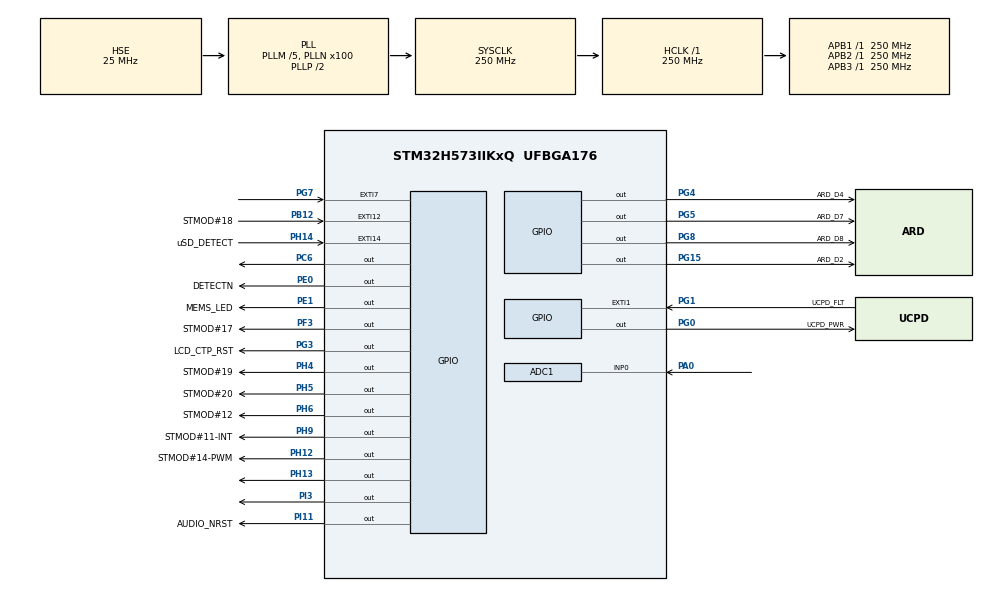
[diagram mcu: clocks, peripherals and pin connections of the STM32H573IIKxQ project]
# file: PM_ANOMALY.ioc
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ADC1.Channel-0\#ChannelRegularConversion=ADC_CHANNEL_0
ADC1.MonitoredBy-0\#ChannelRegularConversion=__NULL
ADC1.NbrOfConversionFlag=1
ADC1.OffsetNumber-0\#ChannelRegularConversion=ADC_OFFSET_NONE
ADC1.Rank-0\#ChannelRegularConversion=1
ADC1.SamplingTime-0\#ChannelRegularConversion=ADC_SAMPLETIME_2CYCLES_5
ADC1.master=1
BOOTPATH.BootPathName=LEGACY
BOOTPATH.UserSelectedBootPath=LEGACY
CORTEX_M33_NS.userName=CORTEX_M33
Mcu.Family=STM32H5
Mcu.Name=STM32H573IIKxQ
Mcu.Package=UFBGA176
NVIC.EXTI13_IRQn=true\:0\:0\:false\:false\:true\:false\:true\:true
NVIC.EXTI7_IRQn=true\:0\:0\:false\:false\:true\:false\:true\:true
NVIC.PriorityGroup=NVIC_PRIORITYGROUP_4
PA0.Signal=ADCx_INP0
PA1.GPIO_Label=RMII_REF_CLK
PA1.Signal=ETH_REF_CLK
PA11.GPIO_Label=USB_FS_N
PA11.Signal=USB_DM
PA12.GPIO_Label=USB_FS_P
PA12.Signal=USB_DP
PA13(JTMS/SWDIO).GPIO_Label=JTMS
PA13(JTMS/SWDIO).Signal=DEBUG_JTMS-SWDIO
PA14(JTCK/SWCLK).GPIO_Label=JTCK
PA14(JTCK/SWCLK).Signal=DEBUG_JTCK-SWCLK
PA15(JTDI).GPIO_Label=JTDI
PA15(JTDI).Signal=DEBUG_JTDI
PA2.GPIO_Label=RMII_MDIO
PA2.Signal=ETH_MDIO
PA3.GPIO_Label=ARD_D10
PA3.Signal=SPI2_NSS
PA4.GPIO_Label=ARD_A1
PA4.Signal=ADCx_INP18
PA5.GPIO_Label=ARD_A3
PA5.Signal=ADCx_INP19
PA6.GPIO_Label=ARD_A4
PA6.Signal=ADCx_INP3
PA7.GPIO_Label=RMII_CRS_DV
PA7.Signal=ETH_CRS_DV
PA8.GPIO_Label=ARD_D9
PA8.Signal=S_TIM1_CH1
PB0.GPIO_Label=ARD_A0
PB0.Signal=ADCx_INP9
PB1.Signal=OCTOSPI1_IO0
PB10.GPIO_Label=ARD_D1
PB10.Signal=USART3_TX
PB11.GPIO_Label=ARD_D0
PB11.Signal=USART3_RX
PB12.GPIO_Label=STMOD\#18
PB12.Signal=GPXTI12
PB13.GPIO_Label=UCPD_CC1
PB13.Signal=UCPD1_CC1
PB14.GPIO_Label=UCPD_CC2
PB14.Signal=UCPD1_CC2
PB15.GPIO_Label=ARD_D11
PB15.Signal=SPI2_MOSI
PB2.Signal=OCTOSPI1_DQS
PB3(JTDO/TRACESWO).GPIO_Label=SWO
PB3(JTDO/TRACESWO).Signal=DEBUG_JTDO-SWO
PB5.GPIO_Label=ARD_D3
PB5.Signal=S_TIM3_CH2
PB6.GPIO_Label=I2C1_SCL
PB6.Signal=I2C1_SCL
PB7.GPIO_Label=I2C1_SDA
PB7.Signal=I2C1_SDA
PC0.Signal=OCTOSPI1_IO7
PC1.GPIO_Label=RMII_MDC
PC1.Signal=ETH_MDC
PC10.GPIO_Label=SDIO1_D2
PC10.Signal=SDMMC1_D2
PC11.GPIO_Label=SDIO1_D3
PC11.Signal=SDMMC1_D3
PC12.GPIO_Label=SDIO1_CK
PC12.Signal=SDMMC1_CK
PC14-OSC32_IN(OSC32_IN).Signal=RCC_OSC32_IN
PC15-OSC32_OUT(OSC32_OUT).Signal=RCC_OSC32_OUT
PC2.Signal=OCTOSPI1_IO2
PC3.GPIO_Label=PDM_SAI1_SD3
PC3.Signal=SAI1_D3
PC4.GPIO_Label=RMII_RXD0
PC4.Signal=ETH_RXD0
PC5.GPIO_Label=RMII_RXD1
PC5.Signal=ETH_RXD1
PC6.Signal=GPIO_Output
PC7.Signal=FMC_NE1
PC8.GPIO_Label=SDIO1_D0
PC8.Signal=SDMMC1_D0
PC9.GPIO_Label=SDIO1_D1
PC9.Signal=SDMMC1_D1
PD0.Signal=FMC_D2_DA2
PD1.Signal=FMC_D3_DA3
PD10.Signal=FMC_D15_DA15
PD11.Signal=SAI1_CK1
PD12.Signal=OCTOSPI1_IO1
PD13.Signal=OCTOSPI1_IO3
PD14.Signal=FMC_D0_DA0
PD15.Signal=FMC_D1_DA1
PD2.GPIO_Label=SDIO1_CMD
PD2.Signal=SDMMC1_CMD
PD3.Signal=FMC_CLK
PD4.Signal=FMC_NOE
PD5.Signal=FMC_NWE
PD6.Signal=SAI1_SD_A
PD8.Signal=FMC_D13_DA13
PD9.Signal=FMC_D14_DA14
PE0.GPIO_Label=DETECTN
PE0.Signal=GPIO_Output
PE1.GPIO_Label=MEMS_LED
PE1.Signal=GPIO_Output
PE10.Signal=FMC_D7_DA7
PE11.Signal=FMC_D8_DA8
PE12.Signal=FMC_D9_DA9
PE13.Signal=FMC_D10_DA10
PE14.Signal=FMC_D11_DA11
PE15.Signal=FMC_D12_DA12
PE2.Signal=DEBUG_TRACECLK
PE3.GPIO_Label=TRACED0
PE3.Signal=DEBUG_TRACED0
PE4.Signal=SAI1_D2
PE5.GPIO_Label=TRACED2
PE5.Signal=DEBUG_TRACED2
PE6.GPIO_Label=TRACED3
PE6.Signal=DEBUG_TRACED3
PE7.Signal=FMC_D4_DA4
PE8.Signal=FMC_D5_DA5
PE9.Signal=FMC_D6_DA6
PF0.Signal=FMC_A0
PF10.Signal=OCTOSPI1_CLK
PF11.GPIO_Label=STMOD\#13
PF11.Signal=ADC1_INP2
PF12.GPIO_Label=ARD_A5
PF12.Signal=ADC1_INP6
PF13.GPIO_Label=IBUS_SENSE
PF13.Signal=ADC2_INP2
PF14.GPIO_Label=VBUS_SENSE
PF14.Signal=ADC2_INP6
PF3.GPIO_Label=STMOD\#17
PF3.Signal=GPIO_Output
PG0.GPIO_Label=UCPD_PWR
PG0.Signal=GPIO_Output
PG1.GPIO_Label=UCPD_FLT
PG1.Signal=GPXTI1
PG10.GPIO_Label=SAI2_SD_B
PG10.Signal=SAI2_SD_B
PG11.GPIO_Label=RMII_TX_EN
PG11.Signal=ETH_TX_EN
PG12.GPIO_Label=RMII_TXD1
PG12.Signal=ETH_TXD1
PG13.Signal=ETH_TXD0
PG14.GPIO_Label=TRACED1
PG14.Signal=DEBUG_TRACED1
PG15.GPIO_Label=ARD_D2
PG15.Signal=GPIO_Output
PG3.GPIO_Label=LCD_CTP_RST
PG3.Signal=GPIO_Output
PG4.GPIO_Label=ARD_D4
PG4.Signal=GPIO_Output
PG5.GPIO_Label=ARD_D7
PG5.Signal=GPIO_Output
PG6.Signal=OCTOSPI1_NCS
PG7.Signal=GPXTI7
PG8.GPIO_Label=ARD_D8
PG8.Signal=GPIO_Output
PG9.Signal=OCTOSPI1_IO6
PH0-OSC_IN(PH0).Mode=HSE-DIG-External-Clock-Source
PH0-OSC_IN(PH0).Signal=RCC_OSC_IN
PH10.GPIO_Label=ARD_D6
PH10.Signal=S_TIM5_CH1
PH11.GPIO_Label=ARD_D5
PH11.Signal=S_TIM5_CH2
PH12.GPIO_Label=STMOD\#14-PWM
PH12.Signal=GPIO_Output
PH13.Signal=GPIO_Output
PH14.GPIO_Label=uSD_DETECT
PH14.Signal=GPXTI14
PH2.Signal=OCTOSPI1_IO4
PH3.Signal=OCTOSPI1_IO5
PH4.GPIO_Label=STMOD\#19
PH4.Signal=GPIO_Output
PH5.GPIO_Label=STMOD\#20
PH5.Signal=GPIO_Output
PH6.GPIO_Label=STMOD\#12
PH6.Signal=GPIO_Output
PH7.GPIO_Label=STMOD\#12-RST
PH7.Signal=SPI5_MISO
PH8.GPIO_Label=STMOD\#9-MISOs
PH8.Signal=SPI5_MOSI
PH9.GPIO_Label=STMOD\#11-INT
PH9.Signal=GPIO_Output
PI1.GPIO_Label=ARD_D13
PI1.Signal=SPI2_SCK
PI10.GPIO_Label=RMII_RX_ER
PI10.Signal=ETH_RX_ER
PI11.GPIO_Label=AUDIO_NRST
PI11.Signal=GPIO_Output
PI2.GPIO_Label=ARD_D12
PI2.Signal=SPI2_MISO
PI3.Signal=GPIO_Output
PI4.GPIO_Label=SAI2_MCLK_A
PI4.Signal=SAI2_MCLK_A
PI5.GPIO_Label=SAI2_SCK_A
PI5.Signal=SAI2_SCK_A
PI6.GPIO_Label=SAI2_SD_A
PI6.Signal=SAI2_SD_A
PI7.GPIO_Label=SAI2_FS_A
PI7.Signal=SAI2_FS_A
ProjectManager.HeapSize=0x200
ProjectManager.StackSize=0x400
ProjectManager.TargetToolchain=STM32CubeIDE
RCC.ADCFreq_Value=250000000
RCC.AHBFreq_Value=250000000
RCC.APB1Freq_Value=250000000
RCC.APB1TimFreq_Value=250000000
RCC.APB2Freq_Value=250000000
RCC.APB2TimFreq_Value=250000000
RCC.APB3Freq_Value=250000000
RCC.CSI_VALUE=4000000
RCC.CortexFreq_Value=250000000
RCC.EPOD_VALUE=25000000
RCC.HCLKFreq_Value=250000000
RCC.HSE_VALUE=25000000
RCC.HSI48_VALUE=48000000
RCC.HSIDiv=RCC_HSI_DIV1
RCC.HSI_VALUE=64000000
RCC.LSE_VALUE=32768
RCC.LSIRC_VALUE=32000
RCC.PLL2FRACN=0
RCC.PLL2N=32
RCC.PLL2P=1
RCC.PLLM=5
RCC.PLLN=100
RCC.PLLSourceVirtual=RCC_PLL1_SOURCE_HSE
RCC.SYSCLKFreq_VALUE=250000000
RCC.SYSCLKSource=RCC_SYSCLKSOURCE_PLLCLK
RCC.USBFreq_Value=48000000
RCC.VCOOutputFreq_Value=500000000
SH.ADCx_INP0.0=ADC1_INP0,IN0-Single-Ended
SH.ADCx_INP18.0=ADC1_INP18
SH.ADCx_INP19.0=ADC1_INP19
SH.ADCx_INP3.0=ADC1_INP3
SH.ADCx_INP9.0=ADC1_INP9
SH.FMC_A0.0=FMC_A0
SH.FMC_CLK.0=FMC_CLK
SH.FMC_D0_DA0.0=FMC_D0
SH.FMC_D10_DA10.0=FMC_D10
SH.FMC_D11_DA11.0=FMC_D11
SH.FMC_D12_DA12.0=FMC_D12
SH.FMC_D13_DA13.0=FMC_D13
SH.FMC_D14_DA14.0=FMC_D14
SH.FMC_D15_DA15.0=FMC_D15
SH.FMC_D1_DA1.0=FMC_D1
SH.FMC_D2_DA2.0=FMC_D2
SH.FMC_D3_DA3.0=FMC_D3
SH.FMC_D4_DA4.0=FMC_D4
SH.FMC_D5_DA5.0=FMC_D5
SH.FMC_D6_DA6.0=FMC_D6
SH.FMC_D7_DA7.0=FMC_D7
SH.FMC_D8_DA8.0=FMC_D8
SH.FMC_D9_DA9.0=FMC_D9
SH.FMC_NOE.0=FMC_NOE
SH.FMC_NWE.0=FMC_NWE
SH.S_TIM1_CH1.0=TIM1_CH1
SH.S_TIM3_CH2.0=TIM3_CH2
SH.S_TIM5_CH1.0=TIM5_CH1
SH.S_TIM5_CH2.0=TIM5_CH2
STM32H573I-DK.BUTTON=1
STM32H573I-DK.LCD_TC_ON=true
STM32H573I-DK.LD1=true
STM32H573I-DK.LD2=true
STM32H573I-DK.LD3=true
STM32H573I-DK.LD4=true
STM32H573I-DK.OCTOSPI_DEMO=true
STM32H573I-DK.VCP=true
VP_BOOTPATH_VS_BOOTPATH.Mode=BP_Activate
VP_CORTEX_M33_NS_VS_Hclk.Mode=Hclk_Mode
VP_ICACHE_VS_ICACHE.Mode=DefaultMode
VP_MEMORYMAP_VS_MEMORYMAP.Mode=CurAppReg
VP_PWR_VS_LPOM.Mode=PowerOptimisation
VP_PWR_VS_SECSignals.Mode=Security/Privilege
VP_STM32H573I-DK_VS_BSP_COMMON.Mode=COMMON
VP_STM32H573I-DK_VS_BSP_LCD.Mode=LCD
VP_STM32H573I-DK_VS_BSP_OCTO_SPI.Mode=OSPI
board=STM32H573I-DK

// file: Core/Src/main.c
/* USER CODE BEGIN Header */
/**
  ******************************************************************************
  * @file           : main.c
  * @brief          : Main program body
  ******************************************************************************
  * @attention
  *
  * Copyright (c) 2025 STMicroelectronics.
  * All rights reserved.
  *
  * This software is licensed under terms that can be found in the LICENSE file
  * in the root directory of this software component.
  * If no LICENSE file comes with this software, it is provided AS-IS.
  *
  ******************************************************************************
  */
/* USER CODE END Header */
#include "main.h"

/* USER CODE BEGIN Includes */
#include "stdio.h"
#include "NanoEdgeAI.h"

/* USER CODE END Includes */

COM_InitTypeDef BspCOMInit;
TS_Init_t   BspTSInit;
BSP_OSPI_NOR_Init_t BspOSPINORInit;
ADC_HandleTypeDef hadc1;

/* USER CODE BEGIN PV */
uint8_t similarity = 0;
float neai_buffer[AXIS_NUMBER * DATA_INPUT_USER];
uint16_t learn_count = 0;
/* USER CODE END PV */

void SystemClock_Config(void);
static void MX_GPIO_Init(void);
static void MX_ADC1_Init(void);
static void MX_ICACHE_Init(void);

int main(void)
{

  /* MCU Configuration--------------------------------------------------------*/

  /* Reset of all peripherals, Initializes the Flash interface and the Systick. */
  HAL_Init();

  /* Configure the system clock */
  SystemClock_Config();

  /* Initialize all configured peripherals */
  MX_GPIO_Init();
  MX_ADC1_Init();
  MX_ICACHE_Init();
  /* USER CODE BEGIN 2 */
  neai_anomalydetection_init();
  printf("NanoEdge AI Initialized.\r\n");

  char displayBuffer[40];
  char learnbuffer[40];
  /* USER CODE END 2 */

  /* Initialize leds */
  BSP_LED_Init(LED_GREEN);
  BSP_LED_Init(LED_ORANGE);
  BSP_LED_Init(LED_RED);
  BSP_LED_Init(LED_BLUE);

  /* Initialize USER push-button, will be used to trigger an interrupt each time it's pressed.*/
  BSP_PB_Init(BUTTON_USER, BUTTON_MODE_EXTI);

  /* Initialize COM1 port (115200, 8 bits (7-bit data + 1 stop bit), no parity */
  BspCOMInit.BaudRate   = 115200;
  BspCOMInit.WordLength = COM_WORDLENGTH_8B;
  BspCOMInit.StopBits   = COM_STOPBITS_1;
  BspCOMInit.Parity     = COM_PARITY_NONE;
  BspCOMInit.HwFlowCtl  = COM_HWCONTROL_NONE;
  if (BSP_COM_Init(COM1, &BspCOMInit) != BSP_ERROR_NONE)
  {
    Error_Handler();
  }

  /* Initialize LCD to black */
  if (BSP_LCD_Init(0, LCD_ORIENTATION_LANDSCAPE) != BSP_ERROR_NONE)
  {
    Error_Handler();
  }
  // Set function driver (VERY IMPORTANT)
  UTIL_LCD_SetFuncDriver(&LCD_Driver);

  // Select device index
  UTIL_LCD_SetDevice(0);

  // Select active layer
  UTIL_LCD_SetLayer(0);
  /* Initialize Touch screen with interrupts */
  BspTSInit.Orientation = TS_ORIENTATION_LANDSCAPE;
  BspTSInit.Accuracy = 5;
  BspTSInit.Width = LCD_DEFAULT_WIDTH;
  BspTSInit.Height = LCD_DEFAULT_HEIGHT;
  if (BSP_TS_Init(0, &BspTSInit) != BSP_ERROR_NONE)
  {
    Error_Handler();
  }
  BSP_TS_EnableIT(0);

  /* Initialize OCTAL NOR memory */
  BspOSPINORInit.InterfaceMode = BSP_OSPI_NOR_OPI_MODE;
  BspOSPINORInit.TransferRate = BSP_OSPI_NOR_DTR_TRANSFER;
  if (BSP_OSPI_NOR_Init(0, &BspOSPINORInit) != BSP_ERROR_NONE)
  {
    Error_Handler();
  }

  /* Infinite loop */
  /* USER CODE BEGIN WHILE */
  UTIL_LCD_Clear(UTIL_LCD_COLOR_BLACK);
  UTIL_LCD_SetBackColor(UTIL_LCD_COLOR_BLACK);
  UTIL_LCD_SetTextColor(UTIL_LCD_COLOR_WHITE);
  UTIL_LCD_SetFont(&Font16);
  while (1)
  {

	  HAL_ADC_Start(&hadc1);
	  HAL_ADC_PollForConversion(&hadc1, 10);

	  uint32_t adc_val = HAL_ADC_GetValue(&hadc1);

	  float voltage = (float)adc_val *3.3f/4095.0f;

         // ----- Build NEAI input -----
            neai_buffer[0] = (float)adc_val;  // Axis 1
            neai_buffer[1] = voltage;         // Axis 2
            // ----- LEARNING PHASE -----
               if (learn_count < MINIMUM_ITERATION_CALLS_FOR_EFFICIENT_LEARNING)
               {
                   neai_anomalydetection_learn(neai_buffer);
                   learn_count++;
                   printf("Learning... %d / %d\r\n",
                          learn_count, MINIMUM_ITERATION_CALLS_FOR_EFFICIENT_LEARNING);

                   UTIL_LCD_FillRect(0, 20, LCD_DEFAULT_WIDTH, 20, UTIL_LCD_COLOR_BLACK);
                   snprintf(learnbuffer, sizeof(learnbuffer), "Finished: %d/320", learn_count);
                   UTIL_LCD_DisplayStringAt(0, 20, (uint8_t *)learnbuffer, CENTER_MODE);
               }

               // ----- DETECTION PHASE -----
               else
               {
            	   static uint8_t cleared = 0;
            	      if (!cleared)
            	      {
            	    	  UTIL_LCD_Clear(UTIL_LCD_COLOR_BLACK);  // Clear "Finished" message
            	          cleared = 1;
            	      }

            	      // Now normal detection prints
            	      UTIL_LCD_FillRect(0, 20, LCD_DEFAULT_WIDTH, 20, UTIL_LCD_COLOR_BLACK);
            	      snprintf(learnbuffer, sizeof(learnbuffer), "Detection mode");
            	      UTIL_LCD_DisplayStringAt(0, 20, (uint8_t *)learnbuffer, CENTER_MODE);

            	      neai_anomalydetection_detect(neai_buffer, &similarity);

                   	  printf("ADC:   %lu  ||  VOLT:    %3f\r\n ", adc_val,voltage);

                   	  HAL_Delay(20);

                   	  // Print to LCD

                   	  UTIL_LCD_FillRect(0, 40, LCD_DEFAULT_WIDTH, 20, UTIL_LCD_COLOR_BLACK);
                      snprintf(displayBuffer, sizeof(displayBuffer), "ADC: %lu", adc_val);
                      UTIL_LCD_DisplayStringAt(0, 40, (uint8_t *)displayBuffer, CENTER_MODE);

                      UTIL_LCD_FillRect(0, 60, LCD_DEFAULT_WIDTH, 20, UTIL_LCD_COLOR_BLACK);
                      snprintf(displayBuffer, sizeof(displayBuffer), "Volt: %.3f V", voltage);
                      UTIL_LCD_DisplayStringAt(0, 60, (uint8_t *)displayBuffer, CENTER_MODE);

                      UTIL_LCD_FillRect(0, 80, LCD_DEFAULT_WIDTH, 20, UTIL_LCD_COLOR_BLACK);
                      snprintf(displayBuffer, sizeof(displayBuffer), "similarity: %d %%", similarity);
                      UTIL_LCD_DisplayStringAt(0, 80, (uint8_t *)displayBuffer, CENTER_MODE);

//                   // Anomoly result
                      UTIL_LCD_FillRect(0, 100, LCD_DEFAULT_WIDTH, 20, UTIL_LCD_COLOR_BLACK);
                   if (similarity> 90.0f){

                       snprintf(learnbuffer, sizeof(learnbuffer), "ANOMOLY : NO");
                	   HAL_GPIO_WritePin(GPIOI, GPIO_PIN_9, GPIO_PIN_RESET);   // DANGER
                       HAL_GPIO_WritePin(GPIOI, GPIO_PIN_8, GPIO_PIN_SET);

                   }
                   else{
                	   snprintf(learnbuffer, sizeof(learnbuffer), "ANOMOLY : YES");
                	   HAL_GPIO_WritePin(GPIOI, GPIO_PIN_8, GPIO_PIN_RESET);     // SAFE
                       HAL_GPIO_WritePin(GPIOI, GPIO_PIN_9, GPIO_PIN_SET);
                   }
                   	   UTIL_LCD_DisplayStringAt(0, 100, (uint8_t *)learnbuffer, CENTER_MODE);
               }

	     HAL_Delay(200);

    /* USER CODE END WHILE */

  }
}

void SystemClock_Config(void)
{
  RCC_OscInitTypeDef RCC_OscInitStruct = {0};
  RCC_ClkInitTypeDef RCC_ClkInitStruct = {0};

  /** Configure the main internal regulator output voltage
  */
  __HAL_PWR_VOLTAGESCALING_CONFIG(PWR_REGULATOR_VOLTAGE_SCALE0);

  while(!__HAL_PWR_GET_FLAG(PWR_FLAG_VOSRDY)) {}

  /** Initializes the RCC Oscillators according to the specified parameters
  * in the RCC_OscInitTypeDef structure.
  */
  RCC_OscInitStruct.OscillatorType = RCC_OSCILLATORTYPE_HSE;
  RCC_OscInitStruct.HSEState = RCC_HSE_BYPASS_DIGITAL;
  RCC_OscInitStruct.PLL.PLLState = RCC_PLL_ON;
  RCC_OscInitStruct.PLL.PLLSource = RCC_PLL1_SOURCE_HSE;
  RCC_OscInitStruct.PLL.PLLM = 5;
  RCC_OscInitStruct.PLL.PLLN = 100;
  RCC_OscInitStruct.PLL.PLLP = 2;
  RCC_OscInitStruct.PLL.PLLQ = 2;
  RCC_OscInitStruct.PLL.PLLR = 2;
  RCC_OscInitStruct.PLL.PLLRGE = RCC_PLL1_VCIRANGE_2;
  RCC_OscInitStruct.PLL.PLLVCOSEL = RCC_PLL1_VCORANGE_WIDE;
  RCC_OscInitStruct.PLL.PLLFRACN = 0;
  if (HAL_RCC_OscConfig(&RCC_OscInitStruct) != HAL_OK)
  {
    Error_Handler();
  }

  /** Initializes the CPU, AHB and APB buses clocks
  */
  RCC_ClkInitStruct.ClockType = RCC_CLOCKTYPE_HCLK|RCC_CLOCKTYPE_SYSCLK
                              |RCC_CLOCKTYPE_PCLK1|RCC_CLOCKTYPE_PCLK2
                              |RCC_CLOCKTYPE_PCLK3;
  RCC_ClkInitStruct.SYSCLKSource = RCC_SYSCLKSOURCE_PLLCLK;
  RCC_ClkInitStruct.AHBCLKDivider = RCC_SYSCLK_DIV1;
  RCC_ClkInitStruct.APB1CLKDivider = RCC_HCLK_DIV1;
  RCC_ClkInitStruct.APB2CLKDivider = RCC_HCLK_DIV1;
  RCC_ClkInitStruct.APB3CLKDivider = RCC_HCLK_DIV1;

  if (HAL_RCC_ClockConfig(&RCC_ClkInitStruct, FLASH_LATENCY_5) != HAL_OK)
  {
    Error_Handler();
  }

  /** Configure the programming delay
  */
  __HAL_FLASH_SET_PROGRAM_DELAY(FLASH_PROGRAMMING_DELAY_2);
}

static void MX_ADC1_Init(void)
{

  ADC_ChannelConfTypeDef sConfig = {0};

  /** Common config
  */
  hadc1.Instance = ADC1;
  hadc1.Init.ClockPrescaler = ADC_CLOCK_ASYNC_DIV4;
  hadc1.Init.Resolution = ADC_RESOLUTION_12B;
  hadc1.Init.DataAlign = ADC_DATAALIGN_RIGHT;
  hadc1.Init.ScanConvMode = ADC_SCAN_DISABLE;
  hadc1.Init.EOCSelection = ADC_EOC_SINGLE_CONV;
  hadc1.Init.LowPowerAutoWait = DISABLE;
  hadc1.Init.ContinuousConvMode = DISABLE;
  hadc1.Init.NbrOfConversion = 1;
  hadc1.Init.DiscontinuousConvMode = DISABLE;
  hadc1.Init.ExternalTrigConv = ADC_SOFTWARE_START;
  hadc1.Init.ExternalTrigConvEdge = ADC_EXTERNALTRIGCONVEDGE_NONE;
  hadc1.Init.DMAContinuousRequests = DISABLE;
  hadc1.Init.SamplingMode = ADC_SAMPLING_MODE_NORMAL;
  hadc1.Init.Overrun = ADC_OVR_DATA_PRESERVED;
  hadc1.Init.OversamplingMode = DISABLE;
  if (HAL_ADC_Init(&hadc1) != HAL_OK)
  {
    Error_Handler();
  }

  /** Configure Regular Channel
  */
  sConfig.Channel = ADC_CHANNEL_0;
  sConfig.Rank = ADC_REGULAR_RANK_1;
  sConfig.SamplingTime = ADC_SAMPLETIME_2CYCLES_5;
  sConfig.SingleDiff = ADC_SINGLE_ENDED;
  sConfig.OffsetNumber = ADC_OFFSET_NONE;
  sConfig.Offset = 0;
  if (HAL_ADC_ConfigChannel(&hadc1, &sConfig) != HAL_OK)
  {
    Error_Handler();
  }

}

static void MX_ICACHE_Init(void)
{

  /** Enable instruction cache (default 2-ways set associative cache)
  */
  if (HAL_ICACHE_Enable() != HAL_OK)
  {
    Error_Handler();
  }

}

static void MX_GPIO_Init(void)
{
  GPIO_InitTypeDef GPIO_InitStruct = {0};

  /* GPIO Ports Clock Enable */
  __HAL_RCC_GPIOI_CLK_ENABLE();
  __HAL_RCC_GPIOB_CLK_ENABLE();
  __HAL_RCC_GPIOG_CLK_ENABLE();
  __HAL_RCC_GPIOE_CLK_ENABLE();
  __HAL_RCC_GPIOD_CLK_ENABLE();
  __HAL_RCC_GPIOA_CLK_ENABLE();
  __HAL_RCC_GPIOC_CLK_ENABLE();
  __HAL_RCC_GPIOH_CLK_ENABLE();
  __HAL_RCC_GPIOF_CLK_ENABLE();

  /*Configure GPIO pin Output Level */
  HAL_GPIO_WritePin(GPIOG, ARD_D2_Pin|ARD_D8_Pin|LCD_CTP_RST_Pin|ARD_D7_Pin
                          |ARD_D4_Pin|UCPD_PWR_Pin, GPIO_PIN_RESET);

  /*Configure GPIO pin Output Level */
  HAL_GPIO_WritePin(GPIOE, MEMS_LED_Pin|DETECTN_Pin, GPIO_PIN_RESET);

  /*Configure GPIO pin Output Level */
  HAL_GPIO_WritePin(AUDIO_NRST_GPIO_Port, AUDIO_NRST_Pin, GPIO_PIN_RESET);

  /*Configure GPIO pin Output Level */
  HAL_GPIO_WritePin(STMOD_17_GPIO_Port, STMOD_17_Pin, GPIO_PIN_RESET);

  /*Configure GPIO pin Output Level */
  HAL_GPIO_WritePin(GPIOH, STMOD_11_INT_Pin|STMOD_14_PWM_Pin|STMOD_20_Pin|STMOD_12_Pin
                          |STMOD_19_Pin, GPIO_PIN_RESET);

  /*Configure GPIO pins : SAI2_FS_A_Pin SAI2_SCK_A_Pin SAI2_MCLK_A_Pin SAI2_SD_A_Pin */
  GPIO_InitStruct.Pin = SAI2_FS_A_Pin|SAI2_SCK_A_Pin|SAI2_MCLK_A_Pin|SAI2_SD_A_Pin;
  GPIO_InitStruct.Mode = GPIO_MODE_AF_PP;
  GPIO_InitStruct.Pull = GPIO_NOPULL;
  GPIO_InitStruct.Speed = GPIO_SPEED_FREQ_LOW;
  GPIO_InitStruct.Alternate = GPIO_AF10_SAI2;
  HAL_GPIO_Init(GPIOI, &GPIO_InitStruct);

  /*Configure GPIO pin : ARD_D3_Pin */
  GPIO_InitStruct.Pin = ARD_D3_Pin;
  GPIO_InitStruct.Mode = GPIO_MODE_AF_PP;
  GPIO_InitStruct.Pull = GPIO_NOPULL;
  GPIO_InitStruct.Speed = GPIO_SPEED_FREQ_LOW;
  GPIO_InitStruct.Alternate = GPIO_AF2_TIM3;
  HAL_GPIO_Init(ARD_D3_GPIO_Port, &GPIO_InitStruct);

  /*Configure GPIO pins : ARD_D2_Pin ARD_D8_Pin LCD_CTP_RST_Pin ARD_D7_Pin
                           ARD_D4_Pin UCPD_PWR_Pin */
  GPIO_InitStruct.Pin = ARD_D2_Pin|ARD_D8_Pin|LCD_CTP_RST_Pin|ARD_D7_Pin
                          |ARD_D4_Pin|UCPD_PWR_Pin;
  GPIO_InitStruct.Mode = GPIO_MODE_OUTPUT_PP;
  GPIO_InitStruct.Pull = GPIO_NOPULL;
  GPIO_InitStruct.Speed = GPIO_SPEED_FREQ_LOW;
  HAL_GPIO_Init(GPIOG, &GPIO_InitStruct);

  /*Configure GPIO pin : SAI2_SD_B_Pin */
  GPIO_InitStruct.Pin = SAI2_SD_B_Pin;
  GPIO_InitStruct.Mode = GPIO_MODE_AF_PP;
  GPIO_InitStruct.Pull = GPIO_NOPULL;
  GPIO_InitStruct.Speed = GPIO_SPEED_FREQ_LOW;
  GPIO_InitStruct.Alternate = GPIO_AF10_SAI2;
  HAL_GPIO_Init(SAI2_SD_B_GPIO_Port, &GPIO_InitStruct);

  /*Configure GPIO pins : ARD_D13_Pin ARD_D12_Pin */
  GPIO_InitStruct.Pin = ARD_D13_Pin|ARD_D12_Pin;
  GPIO_InitStruct.Mode = GPIO_MODE_AF_PP;
  GPIO_InitStruct.Pull = GPIO_NOPULL;
  GPIO_InitStruct.Speed = GPIO_SPEED_FREQ_LOW;
  GPIO_InitStruct.Alternate = GPIO_AF5_SPI2;
  HAL_GPIO_Init(GPIOI, &GPIO_InitStruct);

  /*Configure GPIO pins : MEMS_LED_Pin DETECTN_Pin */
  GPIO_InitStruct.Pin = MEMS_LED_Pin|DETECTN_Pin;
  GPIO_InitStruct.Mode = GPIO_MODE_OUTPUT_PP;
  GPIO_InitStruct.Pull = GPIO_NOPULL;
  GPIO_InitStruct.Speed = GPIO_SPEED_FREQ_LOW;
  HAL_GPIO_Init(GPIOE, &GPIO_InitStruct);

  /*Configure GPIO pins : I2C1_SCL_Pin I2C1_SDA_Pin */
  GPIO_InitStruct.Pin = I2C1_SCL_Pin|I2C1_SDA_Pin;
  GPIO_InitStruct.Mode = GPIO_MODE_AF_OD;
  GPIO_InitStruct.Pull = GPIO_NOPULL;
  GPIO_InitStruct.Speed = GPIO_SPEED_FREQ_LOW;
  GPIO_InitStruct.Alternate = GPIO_AF4_I2C1;
  HAL_GPIO_Init(GPIOB, &GPIO_InitStruct);

  /*Configure GPIO pins : RMII_TXD1_Pin RMII_TX_EN_Pin */
  GPIO_InitStruct.Pin = RMII_TXD1_Pin|RMII_TX_EN_Pin;
  GPIO_InitStruct.Mode = GPIO_MODE_AF_PP;
  GPIO_InitStruct.Pull = GPIO_NOPULL;
  GPIO_InitStruct.Speed = GPIO_SPEED_FREQ_HIGH;
  GPIO_InitStruct.Alternate = GPIO_AF11_ETH;
  HAL_GPIO_Init(GPIOG, &GPIO_InitStruct);

  /*Configure GPIO pin : PD6 */
  GPIO_InitStruct.Pin = GPIO_PIN_6;
  GPIO_InitStruct.Mode = GPIO_MODE_AF_PP;
  GPIO_InitStruct.Pull = GPIO_NOPULL;
  GPIO_InitStruct.Speed = GPIO_SPEED_FREQ_LOW;
  GPIO_InitStruct.Alternate = GPIO_AF6_SAI1;
  HAL_GPIO_Init(GPIOD, &GPIO_InitStruct);

  /*Configure GPIO pin : PE4 */
  GPIO_InitStruct.Pin = GPIO_PIN_4;
  GPIO_InitStruct.Mode = GPIO_MODE_AF_PP;
  GPIO_InitStruct.Pull = GPIO_NOPULL;
  GPIO_InitStruct.Speed = GPIO_SPEED_FREQ_LOW;
  GPIO_InitStruct.Alternate = GPIO_AF2_SAI1;
  HAL_GPIO_Init(GPIOE, &GPIO_InitStruct);

  /*Configure GPIO pin : SDIO1_CMD_Pin */
  GPIO_InitStruct.Pin = SDIO1_CMD_Pin;
  GPIO_InitStruct.Mode = GPIO_MODE_AF_PP;
  GPIO_InitStruct.Pull = GPIO_NOPULL;
  GPIO_InitStruct.Speed = GPIO_SPEED_FREQ_HIGH;
  GPIO_InitStruct.Alternate = GPIO_AF12_SDMMC1;
  HAL_GPIO_Init(SDIO1_CMD_GPIO_Port, &GPIO_InitStruct);

  /*Configure GPIO pins : SDIO1_CK_Pin SDIO1_D3_Pin SDIO1_D2_Pin SDIO1_D1_Pin
                           SDIO1_D0_Pin */
  GPIO_InitStruct.Pin = SDIO1_CK_Pin|SDIO1_D3_Pin|SDIO1_D2_Pin|SDIO1_D1_Pin
                          |SDIO1_D0_Pin;
  GPIO_InitStruct.Mode = GPIO_MODE_AF_PP;
  GPIO_InitStruct.Pull = GPIO_NOPULL;
  GPIO_InitStruct.Speed = GPIO_SPEED_FREQ_HIGH;
  GPIO_InitStruct.Alternate = GPIO_AF12_SDMMC1;
  HAL_GPIO_Init(GPIOC, &GPIO_InitStruct);

  /*Configure GPIO pins : USB_FS_P_Pin USB_FS_N_Pin */
  GPIO_InitStruct.Pin = USB_FS_P_Pin|USB_FS_N_Pin;
  GPIO_InitStruct.Mode = GPIO_MODE_AF_PP;
  GPIO_InitStruct.Pull = GPIO_NOPULL;
  GPIO_InitStruct.Speed = GPIO_SPEED_FREQ_LOW;
  GPIO_InitStruct.Alternate = GPIO_AF10_USB;
  HAL_GPIO_Init(GPIOA, &GPIO_InitStruct);

  /*Configure GPIO pin : uSD_DETECT_Pin */
  GPIO_InitStruct.Pin = uSD_DETECT_Pin;
  GPIO_InitStruct.Mode = GPIO_MODE_IT_RISING;
  GPIO_InitStruct.Pull = GPIO_NOPULL;
  HAL_GPIO_Init(uSD_DETECT_GPIO_Port, &GPIO_InitStruct);

  /*Configure GPIO pin : AUDIO_NRST_Pin */
  GPIO_InitStruct.Pin = AUDIO_NRST_Pin;
  GPIO_InitStruct.Mode = GPIO_MODE_OUTPUT_PP;
  GPIO_InitStruct.Pull = GPIO_NOPULL;
  GPIO_InitStruct.Speed = GPIO_SPEED_FREQ_LOW;
  HAL_GPIO_Init(AUDIO_NRST_GPIO_Port, &GPIO_InitStruct);

  /*Configure GPIO pin : RMII_RX_ER_Pin */
  GPIO_InitStruct.Pin = RMII_RX_ER_Pin;
  GPIO_InitStruct.Mode = GPIO_MODE_AF_PP;
  GPIO_InitStruct.Pull = GPIO_NOPULL;
  GPIO_InitStruct.Speed = GPIO_SPEED_FREQ_HIGH;
  GPIO_InitStruct.Alternate = GPIO_AF11_ETH;
  HAL_GPIO_Init(RMII_RX_ER_GPIO_Port, &GPIO_InitStruct);

  /*Configure GPIO pin : ARD_D9_Pin */
  GPIO_InitStruct.Pin = ARD_D9_Pin;
  GPIO_InitStruct.Mode = GPIO_MODE_AF_PP;
  GPIO_InitStruct.Pull = GPIO_NOPULL;
  GPIO_InitStruct.Speed = GPIO_SPEED_FREQ_LOW;
  GPIO_InitStruct.Alternate = GPIO_AF1_TIM1;
  HAL_GPIO_Init(ARD_D9_GPIO_Port, &GPIO_InitStruct);

  /*Configure GPIO pin : STMOD_17_Pin */
  GPIO_InitStruct.Pin = STMOD_17_Pin;
  GPIO_InitStruct.Mode = GPIO_MODE_OUTPUT_PP;
  GPIO_InitStruct.Pull = GPIO_NOPULL;
  GPIO_InitStruct.Speed = GPIO_SPEED_FREQ_LOW;
  HAL_GPIO_Init(STMOD_17_GPIO_Port, &GPIO_InitStruct);

  /*Configure GPIO pins : RMII_MDC_Pin RMII_RXD0_Pin RMII_RXD1_Pin */
  GPIO_InitStruct.Pin = RMII_MDC_Pin|RMII_RXD0_Pin|RMII_RXD1_Pin;
  GPIO_InitStruct.Mode = GPIO_MODE_AF_PP;
  GPIO_InitStruct.Pull = GPIO_NOPULL;
  GPIO_InitStruct.Speed = GPIO_SPEED_FREQ_HIGH;
  GPIO_InitStruct.Alternate = GPIO_AF11_ETH;
  HAL_GPIO_Init(GPIOC, &GPIO_InitStruct);

  /*Configure GPIO pins : RMII_REF_CLK_Pin RMII_MDIO_Pin RMII_CRS_DV_Pin */
  GPIO_InitStruct.Pin = RMII_REF_CLK_Pin|RMII_MDIO_Pin|RMII_CRS_DV_Pin;
  GPIO_InitStruct.Mode = GPIO_MODE_AF_PP;
  GPIO_InitStruct.Pull = GPIO_NOPULL;
  GPIO_InitStruct.Speed = GPIO_SPEED_FREQ_HIGH;
  GPIO_InitStruct.Alternate = GPIO_AF11_ETH;
  HAL_GPIO_Init(GPIOA, &GPIO_InitStruct);

  /*Configure GPIO pin : STMOD_18_Pin */
  GPIO_InitStruct.Pin = STMOD_18_Pin;
  GPIO_InitStruct.Mode = GPIO_MODE_IT_RISING;
  GPIO_InitStruct.Pull = GPIO_NOPULL;
  HAL_GPIO_Init(STMOD_18_GPIO_Port, &GPIO_InitStruct);

  /*Configure GPIO pin : PD11 */
  GPIO_InitStruct.Pin = GPIO_PIN_11;
  GPIO_InitStruct.Mode = GPIO_MODE_AF_PP;
  GPIO_InitStruct.Pull = GPIO_NOPULL;
  GPIO_InitStruct.Speed = GPIO_SPEED_FREQ_LOW;
  GPIO_InitStruct.Alternate = GPIO_AF2_SAI1;
  HAL_GPIO_Init(GPIOD, &GPIO_InitStruct);

  /*Configure GPIO pins : ARD_D1_Pin ARD_D0_Pin */
  GPIO_InitStruct.Pin = ARD_D1_Pin|ARD_D0_Pin;
  GPIO_InitStruct.Mode = GPIO_MODE_AF_PP;
  GPIO_InitStruct.Pull = GPIO_NOPULL;
  GPIO_InitStruct.Speed = GPIO_SPEED_FREQ_LOW;
  GPIO_InitStruct.Alternate = GPIO_AF7_USART3;
  HAL_GPIO_Init(GPIOB, &GPIO_InitStruct);

  /*Configure GPIO pins : STMOD_11_INT_Pin STMOD_14_PWM_Pin STMOD_20_Pin STMOD_12_Pin
                           STMOD_19_Pin */
  GPIO_InitStruct.Pin = STMOD_11_INT_Pin|STMOD_14_PWM_Pin|STMOD_20_Pin|STMOD_12_Pin
                          |STMOD_19_Pin;
  GPIO_InitStruct.Mode = GPIO_MODE_OUTPUT_PP;
  GPIO_InitStruct.Pull = GPIO_NOPULL;
  GPIO_InitStruct.Speed = GPIO_SPEED_FREQ_LOW;
  HAL_GPIO_Init(GPIOH, &GPIO_InitStruct);

  /*Configure GPIO pin : ARD_D11_Pin */
  GPIO_InitStruct.Pin = ARD_D11_Pin;
  GPIO_InitStruct.Mode = GPIO_MODE_AF_PP;
  GPIO_InitStruct.Pull = GPIO_NOPULL;
  GPIO_InitStruct.Speed = GPIO_SPEED_FREQ_LOW;
  GPIO_InitStruct.Alternate = GPIO_AF5_SPI2;
  HAL_GPIO_Init(ARD_D11_GPIO_Port, &GPIO_InitStruct);

  /*Configure GPIO pin : PDM_SAI1_SD3_Pin */
  GPIO_InitStruct.Pin = PDM_SAI1_SD3_Pin;
  GPIO_InitStruct.Mode = GPIO_MODE_AF_PP;
  GPIO_InitStruct.Pull = GPIO_NOPULL;
  GPIO_InitStruct.Speed = GPIO_SPEED_FREQ_LOW;
  GPIO_InitStruct.Alternate = GPIO_AF2_SAI1;
  HAL_GPIO_Init(PDM_SAI1_SD3_GPIO_Port, &GPIO_InitStruct);

  /*Configure GPIO pin : ARD_D10_Pin */
  GPIO_InitStruct.Pin = ARD_D10_Pin;
  GPIO_InitStruct.Mode = GPIO_MODE_AF_PP;
  GPIO_InitStruct.Pull = GPIO_NOPULL;
  GPIO_InitStruct.Speed = GPIO_SPEED_FREQ_LOW;
  GPIO_InitStruct.Alternate = GPIO_AF5_SPI2;
  HAL_GPIO_Init(ARD_D10_GPIO_Port, &GPIO_InitStruct);

  /*Configure GPIO pins : STMOD_9_MISOs_Pin STMOD_12_RST_Pin */
  GPIO_InitStruct.Pin = STMOD_9_MISOs_Pin|STMOD_12_RST_Pin;
  GPIO_InitStruct.Mode = GPIO_MODE_AF_PP;
  GPIO_InitStruct.Pull = GPIO_NOPULL;
  GPIO_InitStruct.Speed = GPIO_SPEED_FREQ_LOW;
  GPIO_InitStruct.Alternate = GPIO_AF5_SPI5;
  HAL_GPIO_Init(GPIOH, &GPIO_InitStruct);

  /*Configure GPIO pins : ARD_D6_Pin ARD_D5_Pin */
  GPIO_InitStruct.Pin = ARD_D6_Pin|ARD_D5_Pin;
  GPIO_InitStruct.Mode = GPIO_MODE_AF_PP;
  GPIO_InitStruct.Pull = GPIO_NOPULL;
  GPIO_InitStruct.Speed = GPIO_SPEED_FREQ_LOW;
  GPIO_InitStruct.Alternate = GPIO_AF2_TIM5;
  HAL_GPIO_Init(GPIOH, &GPIO_InitStruct);

  /*Configure GPIO pins : UCPD_CC2_Pin UCPD_CC1_Pin */
  GPIO_InitStruct.Pin = UCPD_CC2_Pin|UCPD_CC1_Pin;
  GPIO_InitStruct.Mode = GPIO_MODE_ANALOG;
  GPIO_InitStruct.Pull = GPIO_NOPULL;
  HAL_GPIO_Init(GPIOB, &GPIO_InitStruct);

  /*Configure GPIO pins : IBUS_SENSE_Pin VBUS_SENSE_Pin */
  GPIO_InitStruct.Pin = IBUS_SENSE_Pin|VBUS_SENSE_Pin;
  GPIO_InitStruct.Mode = GPIO_MODE_ANALOG;
  GPIO_InitStruct.Pull = GPIO_NOPULL;
  HAL_GPIO_Init(GPIOF, &GPIO_InitStruct);

  /*Configure GPIO pin : UCPD_FLT_Pin */
  GPIO_InitStruct.Pin = UCPD_FLT_Pin;
  GPIO_InitStruct.Mode = GPIO_MODE_IT_RISING;
  GPIO_InitStruct.Pull = GPIO_NOPULL;
  HAL_GPIO_Init(UCPD_FLT_GPIO_Port, &GPIO_InitStruct);

}

void Error_Handler(void)
{
  __disable_irq();
  while (1)
  {
  }
}
